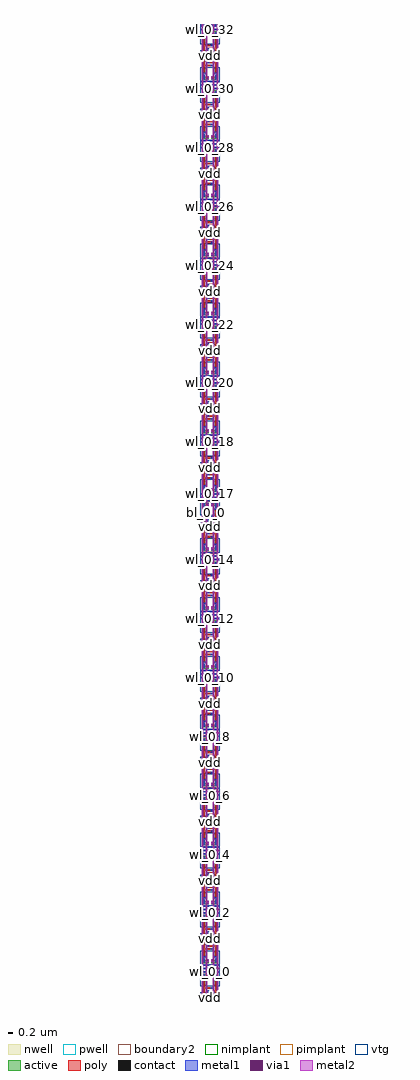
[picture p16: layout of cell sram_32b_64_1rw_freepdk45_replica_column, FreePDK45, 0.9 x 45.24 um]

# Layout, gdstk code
import gdstk
lib = gdstk.Library(unit=1e-6, precision=5e-10)
def R(c, l, rs):  # rectangles x0, y0, x1, y1
    for r in rs: c.add(gdstk.rectangle(r[:2], r[2:], *l))
def A(c, l, x, y, w, h, nx, ny, dx, dy):  # array of equal rectangles
    R(c, l, [(x+i*dx, y+j*dy, x+i*dx+w, y+j*dy+h) for i in range(nx) for j in range(ny)])
active = (1, 0)
pwell = (2, 0)
nwell = (3, 0)
nimplant = (4, 0)
pimplant = (5, 0)
vtg = (6, 0)
poly = (9, 0)
contact = (10, 0)
metal1 = (11, 0)
via1 = (12, 0)
metal2 = (13, 0)
boundary2 = (239, 0)

replica_cell_1rw = lib.new_cell('replica_cell_1rw')
R(replica_cell_1rw, active, [(0.3025,-0.045,0.3925,0.045), (0.3025,-0.045,0.3925,0.045), (0.045,0.2475,0.12,0.3825), (0.045,0.2475,0.12,0.3825), (0.045,0.2475,0.305,0.3825), (0.23,0.2475,0.305,0.3825), (0.23,0.2475,0.305,0.3825), (0.4,0.2475,0.475,0.3825), (0.4,0.2475,0.475,0.3825), (0.4,0.2475,0.66,0.3825), (0.585,0.2475,0.66,0.3825), (0.585,0.2475,0.66,0.3825), (0.045,0.3075,0.12,0.3825), (0.23,0.3075,0.305,0.3825), (0.4,0.3075,0.475,0.3825), (0.585,0.3075,0.66,0.3825), (-0.04,0.5675,0.225,0.7725), (-0.035,0.5675,0.04,0.7725), (-0.035,0.5675,0.04,0.7725), (0.15,0.5675,0.225,0.7725), (0.15,0.5675,0.225,0.7725), (0.48,0.5675,0.555,0.7725), (0.48,0.5675,0.555,0.7725), (0.48,0.5675,0.745,0.7725), (0.665,0.5675,0.74,0.7725), (0.665,0.5675,0.74,0.7725), (-0.035,0.6975,0.04,0.7725), (0.15,0.6975,0.225,0.7725), (0.48,0.6975,0.555,0.7725), (0.665,0.6975,0.74,0.7725), (-0.04,1.1625,0.225,1.2525), (-0.035,1.1625,0.04,1.2375), (-0.035,1.1625,0.04,1.2525), (-0.035,1.1625,0.04,1.2525), (0.15,1.1625,0.225,1.2375), (0.15,1.1625,0.225,1.2525), (0.15,1.1625,0.225,1.2525), (0.48,1.1625,0.555,1.2375), (0.48,1.1625,0.555,1.2525), (0.48,1.1625,0.555,1.2525), (0.48,1.1625,0.745,1.2525), (0.665,1.1625,0.74,1.2375), (0.665,1.1625,0.74,1.2525), (0.665,1.1625,0.74,1.2525), (0.3025,1.32,0.3925,1.41), (0.3025,1.32,0.3925,1.41)])
R(replica_cell_1rw, pwell, [(-0.095,-0.1,0.8,0.8275), (0.2475,-0.1,0.4475,0.1), (0.2475,-0.08,0.4475,0.12), (-0.01,0.1925,0.36,0.4375), (0.345,0.1925,0.715,0.4375), (-0.09,0.5125,0.28,0.8275), (0.425,0.5125,0.795,0.8275)])
R(replica_cell_1rw, nwell, [(-0.095,1.1075,0.8,1.465), (-0.09,1.1075,0.28,1.3075), (0.425,1.1075,0.795,1.3075), (0.2475,1.265,0.4475,1.465), (0.2475,1.265,0.4475,1.465)])
R(replica_cell_1rw, nimplant, [(0.045,0.2475,0.305,0.3825), (0.4,0.2475,0.66,0.3825), (-0.035,0.5675,0.225,0.7725), (0.48,0.5675,0.74,0.7725), (0.3025,1.32,0.3925,1.41), (0.3025,1.32,0.3925,1.41)])
R(replica_cell_1rw, pimplant, [(0.3025,-0.045,0.3925,0.045), (-0.035,1.1625,0.225,1.2525), (0.48,1.1625,0.74,1.2525)])
R(replica_cell_1rw, vtg, [(-0.09,-0.1,0.795,0.8275), (-0.01,0.1925,0.36,0.4375), (0.345,0.1925,0.715,0.4375), (-0.09,0.5125,0.28,0.8275), (0.425,0.5125,0.795,0.8275), (-0.09,1.1075,0.795,1.465), (-0.09,1.1075,0.28,1.3075), (0.425,1.1075,0.795,1.3075)])
R(replica_cell_1rw, poly, [(0.07,0.1225,0.635,0.1975), (0.2975,0.1225,0.3725,0.1975), (0.15,0.1925,0.2,0.4375), (0.15,0.1925,0.2,0.2475), (0.505,0.1925,0.555,0.4375), (0.505,0.1925,0.555,0.2475), (0.15,0.3825,0.2,0.4375), (0.505,0.3825,0.555,0.4375), (0.07,0.5125,0.12,0.5675), (0.07,0.5125,0.12,0.8275), (0.585,0.5125,0.635,0.5675), (0.585,0.5125,0.635,0.8275), (0.07,0.7725,0.12,0.8275), (0.585,0.7725,0.635,0.8275), (0.07,0.8275,0.12,1.1075), (0.07,0.8275,0.12,1.1075), (0.585,0.8275,0.635,1.1075), (0.585,0.8275,0.635,1.1075), (0.07,0.8625,0.5025,0.9375), (0.4275,0.8625,0.5025,0.9375), (0.4275,0.8625,0.5025,0.9375), (0.2025,1.0125,0.635,1.0875), (0.2025,1.0125,0.2775,1.0875), (0.2025,1.0125,0.2775,1.0875), (0.07,1.1075,0.12,1.1625), (0.07,1.1075,0.12,1.3075), (0.585,1.1075,0.635,1.1625), (0.585,1.1075,0.635,1.3075), (0.07,1.2525,0.12,1.3075), (0.585,1.2525,0.635,1.3075)])
R(replica_cell_1rw, contact, [(0.315,-0.0325,0.38,0.0325), (0.3025,0.1275,0.3675,0.1925), (0.05,0.3125,0.115,0.3775), (0.235,0.3125,0.3,0.3775), (0.405,0.3125,0.47,0.3775), (0.59,0.3125,0.655,0.3775), (-0.0325,0.7025,0.0325,0.7675), (0.155,0.7025,0.22,0.7675), (0.485,0.7025,0.55,0.7675), (0.6725,0.7025,0.7375,0.7675), (0.4325,0.8675,0.4975,0.9325), (0.4325,0.8675,0.4975,0.9325), (0.2075,1.0175,0.2725,1.0825), (0.2075,1.0175,0.2725,1.0825), (-0.0325,1.1675,0.0325,1.2325), (0.155,1.1675,0.22,1.2325), (0.485,1.1675,0.55,1.2325), (0.6725,1.1675,0.7375,1.2325), (0.315,1.3325,0.38,1.3975)])
R(replica_cell_1rw, metal1, [(-0.09,-0.0325,0.795,0.0325), (-0.09,-0.0325,0.795,0.0325), (0.6375,-0.0325,0.7725,0.0325), (0.6375,-0.0325,0.7725,0.0325), (0.6375,-0.0325,0.7725,0.0325), (0.6375,-0.0325,0.7725,0.0325), (-0.09,0.1275,0.795,0.1925), (-0.09,0.1275,0.795,0.1925), (0.2675,0.1275,0.4025,0.1925), (-0.085,0.13,-0.0325,0.1925), (0.62,0.13,0.6725,0.1925), (0.05,0.2775,0.12,0.5675), (0.05,0.2775,0.115,0.4125), (0.2225,0.2775,0.2875,0.4125), (0.235,0.2775,0.3,0.4125), (0.405,0.2775,0.47,0.4125), (0.4175,0.2775,0.4825,0.4125), (0.59,0.2775,0.66,0.5675), (0.59,0.2775,0.655,0.4125), (0.05,0.5025,0.22,0.5675), (0.155,0.5025,0.22,1.2425), (0.485,0.5025,0.55,1.1325), (0.485,0.5025,0.66,0.5675), (-0.035,0.6675,0.035,0.8025), (-0.035,0.6675,0.035,0.8025), (-0.03,0.6675,0.035,0.8025), (0.155,0.6675,0.22,0.8025), (0.485,0.6675,0.55,0.8025), (0.67,0.6675,0.74,0.8025), (0.67,0.6675,0.74,0.8025), (0.67,0.6675,0.74,0.8025), (0.67,0.6675,0.74,0.8025), (0.67,0.6675,0.74,0.8025), (0.67,0.6675,0.74,0.8025), (0.67,0.6675,0.735,0.8025), (-0.0325,0.77,0.0325,0.905), (-0.0325,0.77,0.0325,0.905), (-0.0325,0.77,0.0325,0.905), (-0.0325,0.77,0.0325,0.905), (-0.0325,0.77,0.0325,0.905), (-0.0325,0.77,0.0325,0.905), (0.6725,0.77,0.7375,0.905), (0.6725,0.77,0.7375,0.905), (0.6725,0.77,0.7375,0.905), (0.6725,0.77,0.7375,0.905), (0.6725,0.77,0.7375,0.905), (0.6725,0.77,0.7375,0.905), (0.6725,0.77,0.7375,0.905), (0.6725,0.77,0.7375,0.905), (0.6725,0.77,0.7375,0.905), (0.6725,0.77,0.7375,0.905), (0.6725,0.77,0.7375,0.905), (0.6725,0.77,0.7375,0.905), (0.6725,0.77,0.7375,0.905), (0.6725,0.77,0.7375,0.905), (0.6725,0.77,0.7375,0.905), (0.6725,0.77,0.7375,0.905), (0.6725,0.77,0.7375,0.905), (0.6725,0.77,0.7375,0.905), (0.6725,0.77,0.7375,0.905), (0.6725,0.77,0.7375,0.905), (0.6725,0.77,0.7375,0.905), (0.6725,0.77,0.7375,0.905), (0.6725,0.77,0.7375,0.905), (0.6725,0.77,0.7375,0.905), (0.3975,0.8675,0.5325,0.9325), (0.3975,0.8675,0.5325,0.9325), (0.1725,1.0175,0.3075,1.0825), (0.1725,1.0175,0.3075,1.0825), (-0.035,1.1325,0.035,1.3325), (-0.03,1.1325,0.035,1.2675), (0.155,1.1325,0.22,1.2675), (0.485,1.1325,0.55,1.345), (0.67,1.1325,0.74,1.3325), (0.67,1.1325,0.74,1.3325), (0.67,1.1325,0.735,1.2675), (-0.09,1.3325,0.795,1.3975), (-0.09,1.3325,0.795,1.3975)])
R(replica_cell_1rw, via1, [(-0.0325,-0.0325,0.0325,0.0325), (-0.0325,-0.0325,0.0325,0.0325), (0.6725,-0.0325,0.7375,0.0325), (0.6725,-0.0325,0.7375,0.0325), (0.6725,-0.0325,0.7375,0.0325), (0.6725,-0.0325,0.7375,0.0325), (0.2225,0.3125,0.2875,0.3775), (0.4175,0.3125,0.4825,0.3775), (-0.0325,0.805,0.0325,0.87), (-0.0325,0.805,0.0325,0.87), (-0.0325,0.805,0.0325,0.87), (-0.0325,0.805,0.0325,0.87), (-0.0325,0.805,0.0325,0.87), (-0.0325,0.805,0.0325,0.87), (0.6725,0.805,0.7375,0.87), (0.6725,0.805,0.7375,0.87), (0.6725,0.805,0.7375,0.87), (0.6725,0.805,0.7375,0.87), (0.6725,0.805,0.7375,0.87), (0.6725,0.805,0.7375,0.87), (0.6725,0.805,0.7375,0.87), (0.6725,0.805,0.7375,0.87), (0.6725,0.805,0.7375,0.87), (0.6725,0.805,0.7375,0.87), (0.6725,0.805,0.7375,0.87), (0.6725,0.805,0.7375,0.87), (0.6725,0.805,0.7375,0.87), (0.6725,0.805,0.7375,0.87), (0.6725,0.805,0.7375,0.87), (0.6725,0.805,0.7375,0.87), (0.6725,0.805,0.7375,0.87), (0.6725,0.805,0.7375,0.87), (0.6725,0.805,0.7375,0.87), (0.6725,0.805,0.7375,0.87), (0.6725,0.805,0.7375,0.87), (0.6725,0.805,0.7375,0.87), (0.6725,0.805,0.7375,0.87), (0.6725,0.805,0.7375,0.87)])
R(replica_cell_1rw, metal2, [(-0.035,-0.08,0.035,1.465), (0.15,-0.08,0.22,1.465), (0.15,-0.08,0.22,1.465), (0.485,-0.08,0.555,1.465), (0.485,-0.08,0.555,1.465), (0.67,-0.08,0.74,1.465), (0.6375,-0.035,0.7725,0.035), (0.6375,-0.035,0.7725,0.035), (0.6375,-0.035,0.7725,0.035), (0.6375,-0.035,0.7725,0.035), (0.4925,-0.0325,0.55,0.0275), (-0.03,-0.03,0.03,0.0275), (0.1575,-0.025,0.2125,0.0275), (0.675,-0.025,0.735,0.0325), (0.67,-0.0125,0.74,1.3975), (0.22,0.2775,0.29,0.4125), (0.415,0.2775,0.485,0.4125), (-0.035,0.77,0.035,0.905), (-0.035,0.77,0.035,0.905), (-0.035,0.77,0.035,0.905), (-0.035,0.77,0.035,0.905), (-0.035,0.77,0.035,0.905), (-0.035,0.77,0.035,0.905), (0.67,0.77,0.74,0.905), (0.67,0.77,0.74,0.905), (0.67,0.77,0.74,0.905), (0.67,0.77,0.74,0.905), (0.67,0.77,0.74,0.905), (0.67,0.77,0.74,0.905), (0.67,0.77,0.74,0.905), (0.67,0.77,0.74,0.905), (0.67,0.77,0.74,0.905), (0.67,0.77,0.74,0.905), (0.67,0.77,0.74,0.905), (0.67,0.77,0.74,0.905), (0.67,0.77,0.74,0.905), (0.67,0.77,0.74,0.905), (0.67,0.77,0.74,0.905), (0.67,0.77,0.74,0.905), (0.67,0.77,0.74,0.905), (0.67,0.77,0.74,0.905), (0.67,0.77,0.74,0.905), (0.67,0.77,0.74,0.905), (0.67,0.77,0.74,0.905), (0.67,0.77,0.74,0.905), (0.67,0.77,0.74,0.905), (0.67,0.77,0.74,0.905)])
R(replica_cell_1rw, boundary2, [(0,0.02,0.705,1.365)])
replica_cell_1rw.add(gdstk.Label('gnd', (0.345,0), layer=11, texttype=0))
replica_cell_1rw.add(gdstk.Label('vdd', (0.35,1.365), layer=11, texttype=0))
replica_cell_1rw.add(gdstk.Label('wl', (-0.05,0.167), layer=11, texttype=0))
replica_cell_1rw.add(gdstk.Label('bl', (0.19,0.003), layer=13, texttype=0))
replica_cell_1rw.add(gdstk.Label('br', (0.52,0.003), layer=13, texttype=0))
replica_cell_1rw.add(gdstk.Label('bl', (0.185,0.6925), layer=13, texttype=0))
replica_cell_1rw.add(gdstk.Label('br', (0.52,0.6925), layer=13, texttype=0))
replica_cell_1rw.add(gdstk.Label('wl', (0.3525,0.16), layer=11, texttype=0))
replica_cell_1rw.add(gdstk.Label('vdd', (0.3525,1.365), layer=11, texttype=0))
replica_cell_1rw.add(gdstk.Label('gnd', (0.3525,0), layer=11, texttype=0))

sram_32b_64_1rw_freepdk4 = lib.new_cell('sram_32b_64_1rw_freepdk45_replica_column')
A(sram_32b_64_1rw_freepdk4, metal1, -0.09, -0.0325, 0.885, 0.065, 1, 34, 0, 1.365)
R(sram_32b_64_1rw_freepdk4, metal1, [(0,1.1725,0.705,1.2375), (0,1.4925,0.705,1.5575), (0,3.9025,0.705,3.9675), (0,4.2225,0.705,4.2875), (0,6.6325,0.705,6.6975), (0,6.9525,0.705,7.0175), (0,9.3625,0.705,9.4275), (0,9.6825,0.705,9.7475), (0,12.0925,0.705,12.1575), (0,12.4125,0.705,12.4775), (0,14.8225,0.705,14.8875), (0,15.1425,0.705,15.2075), (0,17.5525,0.705,17.6175), (0,17.8725,0.705,17.9375), (0,20.2825,0.705,20.3475), (0,20.6025,0.705,20.6675), (0,23.0125,0.705,23.0775), (0,23.3325,0.705,23.3975), (0,25.7425,0.705,25.8075), (0,26.0625,0.705,26.1275), (0,28.4725,0.705,28.5375), (0,28.7925,0.705,28.8575), (0,31.2025,0.705,31.2675), (0,31.5225,0.705,31.5875), (0,33.9325,0.705,33.9975), (0,34.2525,0.705,34.3175), (0,36.6625,0.705,36.7275), (0,36.9825,0.705,37.0475), (0,39.3925,0.705,39.4575), (0,39.7125,0.705,39.7775), (0,42.1225,0.705,42.1875), (0,42.4425,0.705,42.5075), (0,44.8525,0.705,44.9175)])
R(sram_32b_64_1rw_freepdk4, metal2, [(0.15,0,0.22,45.045), (0.485,0,0.555,45.045)])
R(sram_32b_64_1rw_freepdk4, boundary2, [(0,0,0.705,45.045)])
sram_32b_64_1rw_freepdk4.add(gdstk.Reference(replica_cell_1rw, (0,1.365), x_reflection=True))
sram_32b_64_1rw_freepdk4.add(gdstk.Reference(replica_cell_1rw, (0,1.365)))
sram_32b_64_1rw_freepdk4.add(gdstk.Reference(replica_cell_1rw, (0,4.095), x_reflection=True))
sram_32b_64_1rw_freepdk4.add(gdstk.Reference(replica_cell_1rw, (0,4.095)))
sram_32b_64_1rw_freepdk4.add(gdstk.Reference(replica_cell_1rw, (0,6.825), x_reflection=True))
sram_32b_64_1rw_freepdk4.add(gdstk.Reference(replica_cell_1rw, (0,6.825)))
sram_32b_64_1rw_freepdk4.add(gdstk.Reference(replica_cell_1rw, (0,9.555), x_reflection=True))
sram_32b_64_1rw_freepdk4.add(gdstk.Reference(replica_cell_1rw, (0,9.555)))
sram_32b_64_1rw_freepdk4.add(gdstk.Reference(replica_cell_1rw, (0,12.285), x_reflection=True))
sram_32b_64_1rw_freepdk4.add(gdstk.Reference(replica_cell_1rw, (0,12.285)))
sram_32b_64_1rw_freepdk4.add(gdstk.Reference(replica_cell_1rw, (0,15.015), x_reflection=True))
sram_32b_64_1rw_freepdk4.add(gdstk.Reference(replica_cell_1rw, (0,15.015)))
sram_32b_64_1rw_freepdk4.add(gdstk.Reference(replica_cell_1rw, (0,17.745), x_reflection=True))
sram_32b_64_1rw_freepdk4.add(gdstk.Reference(replica_cell_1rw, (0,17.745)))
sram_32b_64_1rw_freepdk4.add(gdstk.Reference(replica_cell_1rw, (0,20.475), x_reflection=True))
sram_32b_64_1rw_freepdk4.add(gdstk.Reference(replica_cell_1rw, (0,20.475)))
sram_32b_64_1rw_freepdk4.add(gdstk.Reference(replica_cell_1rw, (0,23.205), x_reflection=True))
sram_32b_64_1rw_freepdk4.add(gdstk.Reference(replica_cell_1rw, (0,23.205)))
sram_32b_64_1rw_freepdk4.add(gdstk.Reference(replica_cell_1rw, (0,25.935), x_reflection=True))
sram_32b_64_1rw_freepdk4.add(gdstk.Reference(replica_cell_1rw, (0,25.935)))
sram_32b_64_1rw_freepdk4.add(gdstk.Reference(replica_cell_1rw, (0,28.665), x_reflection=True))
sram_32b_64_1rw_freepdk4.add(gdstk.Reference(replica_cell_1rw, (0,28.665)))
sram_32b_64_1rw_freepdk4.add(gdstk.Reference(replica_cell_1rw, (0,31.395), x_reflection=True))
sram_32b_64_1rw_freepdk4.add(gdstk.Reference(replica_cell_1rw, (0,31.395)))
sram_32b_64_1rw_freepdk4.add(gdstk.Reference(replica_cell_1rw, (0,34.125), x_reflection=True))
sram_32b_64_1rw_freepdk4.add(gdstk.Reference(replica_cell_1rw, (0,34.125)))
sram_32b_64_1rw_freepdk4.add(gdstk.Reference(replica_cell_1rw, (0,36.855), x_reflection=True))
sram_32b_64_1rw_freepdk4.add(gdstk.Reference(replica_cell_1rw, (0,36.855)))
sram_32b_64_1rw_freepdk4.add(gdstk.Reference(replica_cell_1rw, (0,39.585), x_reflection=True))
sram_32b_64_1rw_freepdk4.add(gdstk.Reference(replica_cell_1rw, (0,39.585)))
sram_32b_64_1rw_freepdk4.add(gdstk.Reference(replica_cell_1rw, (0,42.315), x_reflection=True))
sram_32b_64_1rw_freepdk4.add(gdstk.Reference(replica_cell_1rw, (0,42.315)))
sram_32b_64_1rw_freepdk4.add(gdstk.Reference(replica_cell_1rw, (0,45.045), x_reflection=True))
sram_32b_64_1rw_freepdk4.add(gdstk.Label('bl_0_0', (0.185,22.5225), layer=13, texttype=0))
sram_32b_64_1rw_freepdk4.add(gdstk.Label('br_0_0', (0.52,22.5225), layer=13, texttype=0))
sram_32b_64_1rw_freepdk4.add(gdstk.Label('wl_0_0', (0.3525,1.205), layer=11, texttype=0))
sram_32b_64_1rw_freepdk4.add(gdstk.Label('wl_0_1', (0.3525,1.525), layer=11, texttype=0))
sram_32b_64_1rw_freepdk4.add(gdstk.Label('wl_0_2', (0.3525,3.935), layer=11, texttype=0))
sram_32b_64_1rw_freepdk4.add(gdstk.Label('wl_0_3', (0.3525,4.255), layer=11, texttype=0))
sram_32b_64_1rw_freepdk4.add(gdstk.Label('wl_0_4', (0.3525,6.665), layer=11, texttype=0))
sram_32b_64_1rw_freepdk4.add(gdstk.Label('wl_0_5', (0.3525,6.985), layer=11, texttype=0))
sram_32b_64_1rw_freepdk4.add(gdstk.Label('wl_0_6', (0.3525,9.395), layer=11, texttype=0))
sram_32b_64_1rw_freepdk4.add(gdstk.Label('wl_0_7', (0.3525,9.715), layer=11, texttype=0))
sram_32b_64_1rw_freepdk4.add(gdstk.Label('wl_0_8', (0.3525,12.125), layer=11, texttype=0))
sram_32b_64_1rw_freepdk4.add(gdstk.Label('wl_0_9', (0.3525,12.445), layer=11, texttype=0))
sram_32b_64_1rw_freepdk4.add(gdstk.Label('wl_0_10', (0.3525,14.855), layer=11, texttype=0))
sram_32b_64_1rw_freepdk4.add(gdstk.Label('wl_0_11', (0.3525,15.175), layer=11, texttype=0))
sram_32b_64_1rw_freepdk4.add(gdstk.Label('wl_0_12', (0.3525,17.585), layer=11, texttype=0))
sram_32b_64_1rw_freepdk4.add(gdstk.Label('wl_0_13', (0.3525,17.905), layer=11, texttype=0))
sram_32b_64_1rw_freepdk4.add(gdstk.Label('wl_0_14', (0.3525,20.315), layer=11, texttype=0))
sram_32b_64_1rw_freepdk4.add(gdstk.Label('wl_0_15', (0.3525,20.635), layer=11, texttype=0))
sram_32b_64_1rw_freepdk4.add(gdstk.Label('wl_0_16', (0.3525,23.045), layer=11, texttype=0))
sram_32b_64_1rw_freepdk4.add(gdstk.Label('wl_0_17', (0.3525,23.365), layer=11, texttype=0))
sram_32b_64_1rw_freepdk4.add(gdstk.Label('wl_0_18', (0.3525,25.775), layer=11, texttype=0))
sram_32b_64_1rw_freepdk4.add(gdstk.Label('wl_0_19', (0.3525,26.095), layer=11, texttype=0))
sram_32b_64_1rw_freepdk4.add(gdstk.Label('wl_0_20', (0.3525,28.505), layer=11, texttype=0))
sram_32b_64_1rw_freepdk4.add(gdstk.Label('wl_0_21', (0.3525,28.825), layer=11, texttype=0))
sram_32b_64_1rw_freepdk4.add(gdstk.Label('wl_0_22', (0.3525,31.235), layer=11, texttype=0))
sram_32b_64_1rw_freepdk4.add(gdstk.Label('wl_0_23', (0.3525,31.555), layer=11, texttype=0))
sram_32b_64_1rw_freepdk4.add(gdstk.Label('wl_0_24', (0.3525,33.965), layer=11, texttype=0))
sram_32b_64_1rw_freepdk4.add(gdstk.Label('wl_0_25', (0.3525,34.285), layer=11, texttype=0))
sram_32b_64_1rw_freepdk4.add(gdstk.Label('wl_0_26', (0.3525,36.695), layer=11, texttype=0))
sram_32b_64_1rw_freepdk4.add(gdstk.Label('wl_0_27', (0.3525,37.015), layer=11, texttype=0))
sram_32b_64_1rw_freepdk4.add(gdstk.Label('wl_0_28', (0.3525,39.425), layer=11, texttype=0))
sram_32b_64_1rw_freepdk4.add(gdstk.Label('wl_0_29', (0.3525,39.745), layer=11, texttype=0))
sram_32b_64_1rw_freepdk4.add(gdstk.Label('wl_0_30', (0.3525,42.155), layer=11, texttype=0))
sram_32b_64_1rw_freepdk4.add(gdstk.Label('wl_0_31', (0.3525,42.475), layer=11, texttype=0))
sram_32b_64_1rw_freepdk4.add(gdstk.Label('wl_0_32', (0.3525,44.885), layer=11, texttype=0))
sram_32b_64_1rw_freepdk4.add(gdstk.Label('vdd', (0.3525,5.46), layer=11, texttype=0))
sram_32b_64_1rw_freepdk4.add(gdstk.Label('vdd', (0.3525,10.92), layer=11, texttype=0))
sram_32b_64_1rw_freepdk4.add(gdstk.Label('vdd', (0.3525,19.11), layer=11, texttype=0))
sram_32b_64_1rw_freepdk4.add(gdstk.Label('vdd', (0.3525,30.03), layer=11, texttype=0))
sram_32b_64_1rw_freepdk4.add(gdstk.Label('vdd', (0.3525,32.76), layer=11, texttype=0))
sram_32b_64_1rw_freepdk4.add(gdstk.Label('vdd', (0.3525,24.57), layer=11, texttype=0))
sram_32b_64_1rw_freepdk4.add(gdstk.Label('vdd', (0.3525,38.22), layer=11, texttype=0))
sram_32b_64_1rw_freepdk4.add(gdstk.Label('vdd', (0.3525,43.68), layer=11, texttype=0))
sram_32b_64_1rw_freepdk4.add(gdstk.Label('vdd', (0.3525,13.65), layer=11, texttype=0))
sram_32b_64_1rw_freepdk4.add(gdstk.Label('vdd', (0.3525,0), layer=11, texttype=0))
sram_32b_64_1rw_freepdk4.add(gdstk.Label('vdd', (0.3525,27.3), layer=11, texttype=0))
sram_32b_64_1rw_freepdk4.add(gdstk.Label('vdd', (0.3525,8.19), layer=11, texttype=0))
sram_32b_64_1rw_freepdk4.add(gdstk.Label('vdd', (0.3525,16.38), layer=11, texttype=0))
sram_32b_64_1rw_freepdk4.add(gdstk.Label('vdd', (0.3525,35.49), layer=11, texttype=0))
sram_32b_64_1rw_freepdk4.add(gdstk.Label('vdd', (0.3525,2.73), layer=11, texttype=0))
sram_32b_64_1rw_freepdk4.add(gdstk.Label('vdd', (0.3525,40.95), layer=11, texttype=0))
sram_32b_64_1rw_freepdk4.add(gdstk.Label('vdd', (0.3525,21.84), layer=11, texttype=0))
sram_32b_64_1rw_freepdk4.add(gdstk.Label('gnd', (0.3525,17.745), layer=11, texttype=0))
sram_32b_64_1rw_freepdk4.add(gdstk.Label('gnd', (0.3525,4.095), layer=11, texttype=0))
sram_32b_64_1rw_freepdk4.add(gdstk.Label('gnd', (0.3525,28.665), layer=11, texttype=0))
sram_32b_64_1rw_freepdk4.add(gdstk.Label('gnd', (0.3525,15.015), layer=11, texttype=0))
sram_32b_64_1rw_freepdk4.add(gdstk.Label('gnd', (0.3525,12.285), layer=11, texttype=0))
sram_32b_64_1rw_freepdk4.add(gdstk.Label('gnd', (0.3525,9.555), layer=11, texttype=0))
sram_32b_64_1rw_freepdk4.add(gdstk.Label('gnd', (0.3525,34.125), layer=11, texttype=0))
sram_32b_64_1rw_freepdk4.add(gdstk.Label('gnd', (0.3525,36.855), layer=11, texttype=0))
sram_32b_64_1rw_freepdk4.add(gdstk.Label('gnd', (0.3525,39.585), layer=11, texttype=0))
sram_32b_64_1rw_freepdk4.add(gdstk.Label('gnd', (0.3525,42.315), layer=11, texttype=0))
sram_32b_64_1rw_freepdk4.add(gdstk.Label('gnd', (0.3525,45.045), layer=11, texttype=0))
sram_32b_64_1rw_freepdk4.add(gdstk.Label('gnd', (0.3525,23.205), layer=11, texttype=0))
sram_32b_64_1rw_freepdk4.add(gdstk.Label('gnd', (0.3525,1.365), layer=11, texttype=0))
sram_32b_64_1rw_freepdk4.add(gdstk.Label('gnd', (0.3525,6.825), layer=11, texttype=0))
sram_32b_64_1rw_freepdk4.add(gdstk.Label('gnd', (0.3525,20.475), layer=11, texttype=0))
sram_32b_64_1rw_freepdk4.add(gdstk.Label('gnd', (0.3525,31.395), layer=11, texttype=0))
sram_32b_64_1rw_freepdk4.add(gdstk.Label('gnd', (0.3525,25.935), layer=11, texttype=0))

lib.write_gds('sram_32b_64_1rw_freepdk45_replica_column.gds')
